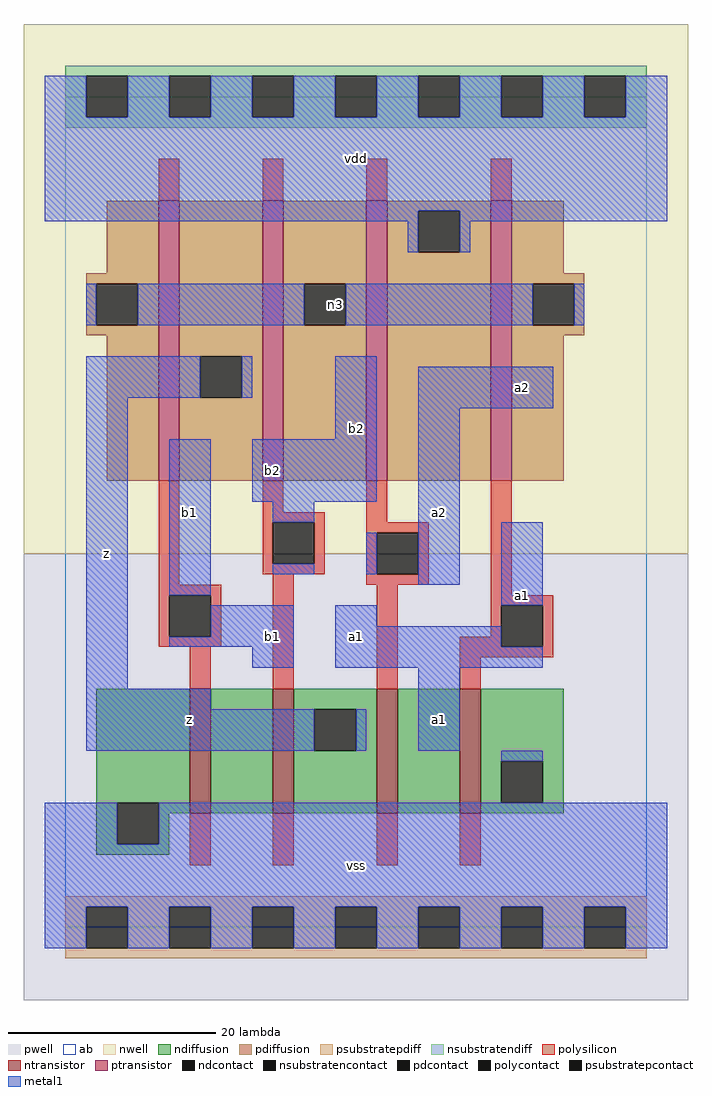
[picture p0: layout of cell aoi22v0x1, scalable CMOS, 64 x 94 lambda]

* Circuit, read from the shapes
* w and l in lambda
.subckt aoi22v0x1 a1 a2 b1 b2 n3 vdd vss z
M1 n1 b1 vss vss nfet w=12 l=2
M2 z b2 n1 vss nfet w=12 l=2
M3 n2 a2 z vss nfet w=12 l=2
M4 vss a1 n2 vss nfet w=12 l=2
M5 z b1 n3 vdd pfet w=27 l=2
M6 n3 b2 z vdd pfet w=27 l=2
M7 vdd a2 n3 vdd pfet w=27 l=2
M8 n3 a1 vdd vdd pfet w=27 l=2
.ends

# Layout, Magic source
magic
tech scmos
<< ab >>
rect 0 0 56 80
<< pwell >>
rect -4 -7 60 36
<< nwell >>
rect -4 36 60 87
<< polysilicon >>
rect 9 70 11 74
rect 19 70 21 74
rect 29 70 31 74
rect 41 70 43 74
rect 9 33 11 43
rect 19 40 21 43
rect 19 39 25 40
rect 19 35 20 39
rect 24 35 25 39
rect 19 34 25 35
rect 29 39 31 43
rect 29 38 35 39
rect 29 34 30 38
rect 34 34 35 38
rect 9 32 15 33
rect 9 28 10 32
rect 14 28 15 32
rect 9 27 15 28
rect 12 23 14 27
rect 20 23 22 34
rect 29 33 35 34
rect 30 23 32 33
rect 41 32 43 43
rect 41 31 47 32
rect 41 28 42 31
rect 38 27 42 28
rect 46 27 47 31
rect 38 26 47 27
rect 38 23 40 26
rect 12 6 14 11
rect 20 6 22 11
rect 30 6 32 11
rect 38 6 40 11
<< ndiffusion >>
rect 3 12 12 23
rect 3 8 5 12
rect 9 11 12 12
rect 14 11 20 23
rect 22 21 30 23
rect 22 17 24 21
rect 28 17 30 21
rect 22 11 30 17
rect 32 11 38 23
rect 40 16 48 23
rect 40 12 42 16
rect 46 12 48 16
rect 40 11 48 12
rect 9 8 10 11
rect 3 7 10 8
<< pdiffusion >>
rect 4 63 9 70
rect 2 62 9 63
rect 2 58 3 62
rect 7 58 9 62
rect 2 57 9 58
rect 4 43 9 57
rect 11 55 19 70
rect 11 51 13 55
rect 17 51 19 55
rect 11 43 19 51
rect 21 62 29 70
rect 21 58 23 62
rect 27 58 29 62
rect 21 43 29 58
rect 31 69 41 70
rect 31 65 34 69
rect 38 65 41 69
rect 31 43 41 65
rect 43 63 48 70
rect 43 62 50 63
rect 43 58 45 62
rect 49 58 50 62
rect 43 57 50 58
rect 43 43 48 57
<< metal1 >>
rect -2 78 2 82
rect 6 78 10 82
rect 14 78 18 82
rect 22 78 26 82
rect 30 78 34 82
rect 38 78 42 82
rect 46 78 50 82
rect 54 78 58 82
rect -2 69 58 78
rect -2 68 34 69
rect 33 65 34 68
rect 38 68 58 69
rect 38 65 39 68
rect 2 58 3 62
rect 7 58 23 62
rect 27 58 45 62
rect 49 58 50 62
rect 2 51 13 55
rect 17 51 18 55
rect 2 23 6 51
rect 26 47 30 55
rect 10 32 14 47
rect 18 41 30 47
rect 34 50 47 54
rect 20 39 24 41
rect 20 34 24 35
rect 29 34 30 38
rect 34 33 38 50
rect 42 31 46 39
rect 14 28 22 31
rect 10 27 22 28
rect 18 25 22 27
rect 26 29 30 31
rect 26 27 42 29
rect 26 25 46 27
rect 2 21 14 23
rect 2 17 24 21
rect 28 17 29 21
rect 34 17 38 25
rect 42 16 46 17
rect -2 8 5 12
rect 9 8 58 12
rect -2 2 58 8
rect -2 -2 2 2
rect 6 -2 10 2
rect 14 -2 18 2
rect 22 -2 26 2
rect 30 -2 34 2
rect 38 -2 42 2
rect 46 -2 50 2
rect 54 -2 58 2
<< ntransistor >>
rect 12 11 14 23
rect 20 11 22 23
rect 30 11 32 23
rect 38 11 40 23
<< ptransistor >>
rect 9 43 11 70
rect 19 43 21 70
rect 29 43 31 70
rect 41 43 43 70
<< polycontact >>
rect 20 35 24 39
rect 30 34 34 38
rect 10 28 14 32
rect 42 27 46 31
<< ndcontact >>
rect 5 8 9 12
rect 24 17 28 21
rect 42 12 46 16
<< pdcontact >>
rect 3 58 7 62
rect 13 51 17 55
rect 23 58 27 62
rect 34 65 38 69
rect 45 58 49 62
<< psubstratepcontact >>
rect 2 -2 6 2
rect 10 -2 14 2
rect 18 -2 22 2
rect 26 -2 30 2
rect 34 -2 38 2
rect 42 -2 46 2
rect 50 -2 54 2
<< nsubstratencontact >>
rect 2 78 6 82
rect 10 78 14 82
rect 18 78 22 82
rect 26 78 30 82
rect 34 78 38 82
rect 42 78 46 82
rect 50 78 54 82
<< psubstratepdiff >>
rect 0 2 56 3
rect 0 -2 2 2
rect 6 -2 10 2
rect 14 -2 18 2
rect 22 -2 26 2
rect 30 -2 34 2
rect 38 -2 42 2
rect 46 -2 50 2
rect 54 -2 56 2
rect 0 -3 56 -2
<< nsubstratendiff >>
rect 0 82 56 83
rect 0 78 2 82
rect 6 78 10 82
rect 14 78 18 82
rect 22 78 26 82
rect 30 78 34 82
rect 38 78 42 82
rect 46 78 50 82
rect 54 78 56 82
rect 0 77 56 78
<< labels >>
rlabel metal1 4 36 4 36 6 z
rlabel metal1 12 20 12 20 6 z
rlabel metal1 12 40 12 40 6 b1
rlabel metal1 28 6 28 6 6 vss
rlabel metal1 20 28 20 28 6 b1
rlabel metal1 28 28 28 28 6 a1
rlabel metal1 20 44 20 44 6 b2
rlabel metal1 28 48 28 48 6 b2
rlabel metal1 28 74 28 74 6 vdd
rlabel metal1 36 20 36 20 6 a1
rlabel metal1 44 32 44 32 6 a1
rlabel metal1 36 40 36 40 6 a2
rlabel metal1 44 52 44 52 6 a2
rlabel pdcontact 26 60 26 60 6 n3
<< end >>
